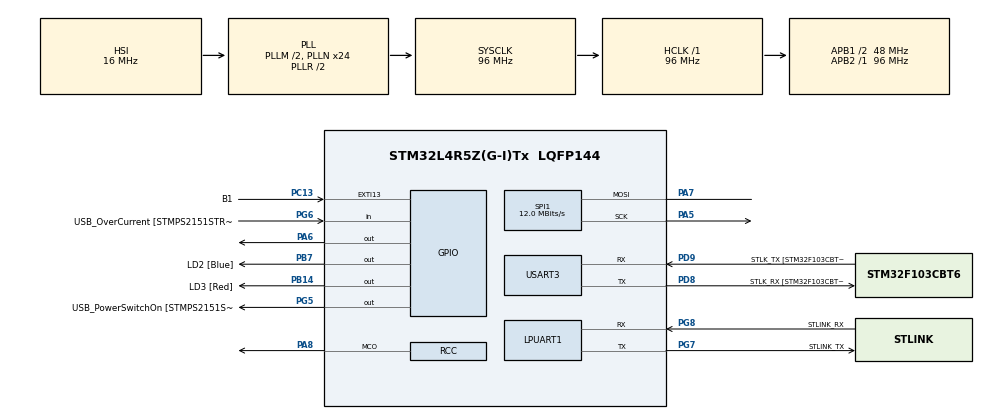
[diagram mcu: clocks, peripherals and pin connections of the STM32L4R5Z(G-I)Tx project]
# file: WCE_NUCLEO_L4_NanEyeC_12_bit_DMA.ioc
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Dma.Request0=SPI1_RX
Dma.Request1=SPI1_TX
Dma.SPI1_RX.0.Direction=DMA_PERIPH_TO_MEMORY
Dma.SPI1_RX.0.EventEnable=DISABLE
Dma.SPI1_RX.0.Instance=DMA1_Channel1
Dma.SPI1_RX.0.MemDataAlignment=DMA_MDATAALIGN_BYTE
Dma.SPI1_RX.0.MemInc=DMA_MINC_ENABLE
Dma.SPI1_RX.0.Mode=DMA_NORMAL
Dma.SPI1_RX.0.PeriphDataAlignment=DMA_PDATAALIGN_BYTE
Dma.SPI1_RX.0.PeriphInc=DMA_PINC_DISABLE
Dma.SPI1_RX.0.Polarity=HAL_DMAMUX_REQUEST_GEN_RISING
Dma.SPI1_RX.0.Priority=DMA_PRIORITY_LOW
Dma.SPI1_RX.0.RequestNumber=1
Dma.SPI1_RX.0.SignalID=NONE
Dma.SPI1_RX.0.SyncEnable=DISABLE
Dma.SPI1_RX.0.SyncPolarity=HAL_DMAMUX_SYNC_NO_EVENT
Dma.SPI1_RX.0.SyncRequestNumber=1
Dma.SPI1_RX.0.SyncSignalID=NONE
Dma.SPI1_TX.1.Direction=DMA_MEMORY_TO_PERIPH
Dma.SPI1_TX.1.EventEnable=DISABLE
Dma.SPI1_TX.1.Instance=DMA1_Channel2
Dma.SPI1_TX.1.MemDataAlignment=DMA_MDATAALIGN_BYTE
Dma.SPI1_TX.1.MemInc=DMA_MINC_ENABLE
Dma.SPI1_TX.1.Mode=DMA_NORMAL
Dma.SPI1_TX.1.PeriphDataAlignment=DMA_PDATAALIGN_BYTE
Dma.SPI1_TX.1.PeriphInc=DMA_PINC_DISABLE
Dma.SPI1_TX.1.Polarity=HAL_DMAMUX_REQUEST_GEN_RISING
Dma.SPI1_TX.1.Priority=DMA_PRIORITY_LOW
Dma.SPI1_TX.1.RequestNumber=1
Dma.SPI1_TX.1.SignalID=NONE
Dma.SPI1_TX.1.SyncEnable=DISABLE
Dma.SPI1_TX.1.SyncPolarity=HAL_DMAMUX_SYNC_NO_EVENT
Dma.SPI1_TX.1.SyncRequestNumber=1
Dma.SPI1_TX.1.SyncSignalID=NONE
Mcu.Family=STM32L4
Mcu.Name=STM32L4R5Z(G-I)Tx
Mcu.Package=LQFP144
NVIC.DMA1_Channel1_IRQn=true\:0\:0\:false\:false\:true\:false\:true
NVIC.DMA1_Channel2_IRQn=true\:0\:0\:false\:false\:true\:false\:true
NVIC.PriorityGroup=NVIC_PRIORITYGROUP_4
NVIC.SPI1_IRQn=true\:0\:0\:false\:false\:true\:true\:true
PA13\ (JTMS/SWDIO).GPIO_Label=TMS
PA13\ (JTMS/SWDIO).Mode=Trace_Asynchronous_SW
PA13\ (JTMS/SWDIO).Signal=SYS_JTMS-SWDIO
PA14\ (JTCK/SWCLK).GPIO_Label=TCK
PA14\ (JTCK/SWCLK).Mode=Trace_Asynchronous_SW
PA14\ (JTCK/SWCLK).Signal=SYS_JTCK-SWCLK
PA5.Mode=Simplex_Bidirectional_Master
PA5.Signal=SPI1_SCK
PA6.Signal=GPIO_Output
PA7.Mode=Simplex_Bidirectional_Master
PA7.Signal=SPI1_MOSI
PA8.Mode=Clock-out
PA8.Signal=RCC_MCO
PB14.GPIO_Label=LD3 [Red]
PB14.Signal=GPIO_Output
PB3\ (JTDO/TRACESWO).GPIO_Label=SWO
PB3\ (JTDO/TRACESWO).Mode=Trace_Asynchronous_SW
PB3\ (JTDO/TRACESWO).Signal=SYS_JTDO-SWO
PB7.GPIO_Label=LD2 [Blue]
PB7.Signal=GPIO_Output
PC13.GPIO_Label=B1
PC13.Signal=GPXTI13
PC14-OSC32_IN\ (PC14).Mode=LSE-External-Oscillator
PC14-OSC32_IN\ (PC14).Signal=RCC_OSC32_IN
PC15-OSC32_OUT\ (PC15).Mode=LSE-External-Oscillator
PC15-OSC32_OUT\ (PC15).Signal=RCC_OSC32_OUT
PD8.GPIO_Label=STLK_RX [STM32F103CBT6_PA3]
PD8.Mode=Asynchronous
PD8.Signal=USART3_TX
PD9.GPIO_Label=STLK_TX [STM32F103CBT6_PA2]
PD9.Mode=Asynchronous
PD9.Signal=USART3_RX
PG5.GPIO_Label=USB_PowerSwitchOn [STMPS2151STR_EN]
PG5.Signal=GPIO_Output
PG6.GPIO_Label=USB_OverCurrent [STMPS2151STR_FAULT]
PG6.Signal=GPIO_Input
PG7.GPIO_Label=STLINK_TX
PG7.Mode=Asynchronous
PG7.Signal=LPUART1_TX
PG8.GPIO_Label=STLINK_RX
PG8.Mode=Asynchronous
PG8.Signal=LPUART1_RX
PH0-OSC_IN\ (PH0).Signal=RCC_OSC_IN
PH1-OSC_OUT\ (PH1).Signal=RCC_OSC_OUT
ProjectManager.HeapSize=0x200
ProjectManager.StackSize=0x400
ProjectManager.TargetToolchain=STM32CubeIDE
RCC.48MHZClocksFreq_Value=24000000
RCC.ADCFreq_Value=96000000
RCC.AHBFreq_Value=96000000
RCC.APB1CLKDivider=RCC_HCLK_DIV2
RCC.APB1Freq_Value=48000000
RCC.APB1TimFreq_Value=96000000
RCC.APB2Freq_Value=96000000
RCC.APB2TimFreq_Value=96000000
RCC.CK48CLockSelection=RCC_USBCLKSOURCE_HSI48
RCC.CortexFreq_Value=96000000
RCC.HCLKFreq_Value=96000000
RCC.HSE_VALUE=8000000
RCC.HSI48_VALUE=48000000
RCC.HSI_VALUE=16000000
RCC.MSI_VALUE=4000000
RCC.PLLM1=2
RCC.PLLMUL=RCC_PLL_MUL9
RCC.PLLN=24
RCC.PLLSAI1N=12
RCC.PLLSourceVirtual=RCC_PLLSOURCE_HSI
RCC.PRESCALERUSB=RCC_USBCLKSOURCE_PLL_DIV1_5
RCC.RCC_MCODiv=RCC_MCODIV_2
RCC.SYSCLKFreq_VALUE=96000000
RCC.SYSCLKSource=RCC_SYSCLKSOURCE_PLLCLK
RCC.SYSCLKSourceVirtual=RCC_SYSCLKSOURCE_PLLCLK
RCC.USBFreq_Value=48000000
RCC.VCOOutputFreq_Value=192000000
SPI1.BaudRatePrescaler=SPI_BAUDRATEPRESCALER_8
SPI1.CalculateBaudRate=12.0 MBits/s
SPI1.DataSize=SPI_DATASIZE_12BIT
SPI1.Direction=SPI_DIRECTION_1LINE
SPI1.Mode=SPI_MODE_MASTER
SPI1.NSSPMode=SPI_NSS_PULSE_ENABLE
SPI1.VirtualType=VM_MASTER
USART3.VirtualMode-Asynchronous=VM_ASYNC
board=NUCLEO-L4R5ZI

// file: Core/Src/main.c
/* USER CODE BEGIN Header */
/**
  ******************************************************************************
  * @file           : main.c
  * @brief          : Main program body
  ******************************************************************************
  * @attention
  *
  * <h2><center>&copy; Copyright (c) 2021 STMicroelectronics.
  * All rights reserved.</center></h2>
  *
  * This software component is licensed by ST under BSD 3-Clause license,
  * the "License"; You may not use this file except in compliance with the
  * License. You may obtain a copy of the License at:
  *                        opensource.org/licenses/BSD-3-Clause
  *
  ******************************************************************************
  */
/* USER CODE END Header */
#include "main.h"

UART_HandleTypeDef hlpuart1;
UART_HandleTypeDef huart3;

SPI_HandleTypeDef hspi1;
DMA_HandleTypeDef hdma_spi1_rx;
DMA_HandleTypeDef hdma_spi1_tx;

void SystemClock_Config(void);
static void MX_GPIO_Init(void);
static void MX_DMA_Init(void);
static void MX_LPUART1_UART_Init(void);
static void MX_USART3_UART_Init(void);
static void MX_SPI1_Init(void);
/* USER CODE BEGIN PFP */
static void Toggle_GPIO_pin_Init(void);
static void Bit_Bang_clock_gen(uint8_t num_clocks);
/* USER CODE END PFP */

int main(void)
{
  /* USER CODE BEGIN 1 */
	uint16_t received_data[52480] = {0};  //320*328 = 104960    104960/2=52480
	uint16_t empty_data[644] = {0};
	uint16_t test_pattern[4];
	test_pattern[0] = 0b100100001100;
	test_pattern[1] = 0b000100101010;
	test_pattern[2] = 0b100100100000;
	test_pattern[3] = 0b010100101000; //12 MHz: 0b010100101000;  16 MHz:0b010110101010
  /* USER CODE END 1 */

  /* MCU Configuration--------------------------------------------------------*/

  /* Reset of all peripherals, Initializes the Flash interface and the Systick. */
  HAL_Init();

  /* Configure the system clock */
  SystemClock_Config();

  /* Initialize all configured peripherals */
  MX_GPIO_Init();
  MX_DMA_Init();
  MX_LPUART1_UART_Init();
  MX_USART3_UART_Init();
  MX_SPI1_Init();
  /* USER CODE BEGIN 2 */
  //HAL_TIM_Base_Start(&htim2);

  //---- ACTIVATION CLOCK PULSE -----
  HAL_SPI_DeInit(&hspi1);
  Toggle_GPIO_pin_Init();
  GPIOA -> ODR ^= GPIO_PIN_5;
  HAL_Delay(1);
  GPIOA -> ODR ^= GPIO_PIN_5;

  //---- REGISTER CONFIGURATION - 48-bit (4PP) -----
  MX_SPI1_Init();
  HAL_SPI_Transmit(&hspi1, test_pattern, 4, 1000);

  //---- WAIT FOR IDLE START-UP ----
  HAL_Delay(1);

  //---- 10 CLOCKS -----
  HAL_SPI_DeInit(&hspi1);
  Toggle_GPIO_pin_Init();
  for (uint8_t i = 0; i < 20; i++)
    {
	  HAL_GPIO_TogglePin(GPIOA, GPIO_PIN_5);
	  HAL_Delay(1);
    }

  MX_DMA_Init();
  MX_SPI1_Init();

  	//---- INITIAL PRE-SYNC MODE: RECEIVE 492 PP FROM CAMERA -----
    HAL_SPI_Receive_DMA(&hspi1, received_data, 329);

    //---- SYNC MODE -----
    HAL_SPI_Receive_DMA(&hspi1, received_data, 656);

    //---- DELAY MODE -----
    HAL_SPI_Receive_DMA(&hspi1, received_data, 656);

	//---- READOUT MODE -----
	HAL_SPI_Receive_DMA(&hspi1, received_data, 52480); //1
	HAL_SPI_Receive_DMA(&hspi1, received_data, 52480); //2

	//---- END OF FRAME -----
	HAL_SPI_Receive_DMA(&hspi1, received_data, 8);

  /* USER CODE END 2 */

  /* Infinite loop */
  /* USER CODE BEGIN WHILE */
  while (1)
  {
	  //---- REGISTER CONFIGURATION - 48-bit (4PP) -----
	  HAL_SPI_Transmit(&hspi1, test_pattern, 4, 1000);

	  //---- INTERFACE MODE -----
	  HAL_SPI_Transmit(&hspi1, empty_data, 644, 1000);

	  //---- SYNC and DELAY MODE -----
	  HAL_SPI_Receive_DMA_DMA(&hspi1, received_data, 1312);

	  //---- READOUT MODE -----
	  HAL_SPI_Receive_DMA(&hspi1, received_data, 52480); //1
	  HAL_SPI_Receive_DMA(&hspi1, received_data, 52480); //2

	  //---- END OF FRAME -----
	  HAL_SPI_Receive_DMA(&hspi1, received_data, 8);

    /* USER CODE END WHILE */

  }
}

void SystemClock_Config(void)
{
  RCC_OscInitTypeDef RCC_OscInitStruct = {0};
  RCC_ClkInitTypeDef RCC_ClkInitStruct = {0};
  RCC_PeriphCLKInitTypeDef PeriphClkInit = {0};

  /** Configure the main internal regulator output voltage
  */
  if (HAL_PWREx_ControlVoltageScaling(PWR_REGULATOR_VOLTAGE_SCALE1_BOOST) != HAL_OK)
  {
    Error_Handler();
  }
  /** Initializes the RCC Oscillators according to the specified parameters
  * in the RCC_OscInitTypeDef structure.
  */
  RCC_OscInitStruct.OscillatorType = RCC_OSCILLATORTYPE_HSI;
  RCC_OscInitStruct.HSIState = RCC_HSI_ON;
  RCC_OscInitStruct.HSICalibrationValue = RCC_HSICALIBRATION_DEFAULT;
  RCC_OscInitStruct.PLL.PLLState = RCC_PLL_ON;
  RCC_OscInitStruct.PLL.PLLSource = RCC_PLLSOURCE_HSI;
  RCC_OscInitStruct.PLL.PLLM = 2;
  RCC_OscInitStruct.PLL.PLLN = 24;
  RCC_OscInitStruct.PLL.PLLP = RCC_PLLP_DIV2;
  RCC_OscInitStruct.PLL.PLLQ = RCC_PLLQ_DIV2;
  RCC_OscInitStruct.PLL.PLLR = RCC_PLLR_DIV2;
  if (HAL_RCC_OscConfig(&RCC_OscInitStruct) != HAL_OK)
  {
    Error_Handler();
  }
  /** Initializes the CPU, AHB and APB buses clocks
  */
  RCC_ClkInitStruct.ClockType = RCC_CLOCKTYPE_HCLK|RCC_CLOCKTYPE_SYSCLK
                              |RCC_CLOCKTYPE_PCLK1|RCC_CLOCKTYPE_PCLK2;
  RCC_ClkInitStruct.SYSCLKSource = RCC_SYSCLKSOURCE_PLLCLK;
  RCC_ClkInitStruct.AHBCLKDivider = RCC_SYSCLK_DIV1;
  RCC_ClkInitStruct.APB1CLKDivider = RCC_HCLK_DIV2;
  RCC_ClkInitStruct.APB2CLKDivider = RCC_HCLK_DIV1;

  if (HAL_RCC_ClockConfig(&RCC_ClkInitStruct, FLASH_LATENCY_4) != HAL_OK)
  {
    Error_Handler();
  }
  PeriphClkInit.PeriphClockSelection = RCC_PERIPHCLK_USART3|RCC_PERIPHCLK_LPUART1;
  PeriphClkInit.Usart3ClockSelection = RCC_USART3CLKSOURCE_PCLK1;
  PeriphClkInit.Lpuart1ClockSelection = RCC_LPUART1CLKSOURCE_PCLK1;
  if (HAL_RCCEx_PeriphCLKConfig(&PeriphClkInit) != HAL_OK)
  {
    Error_Handler();
  }
  HAL_RCC_MCOConfig(RCC_MCO1, RCC_MCO1SOURCE_SYSCLK, RCC_MCODIV_2);
}

static void MX_LPUART1_UART_Init(void)
{

  hlpuart1.Instance = LPUART1;
  hlpuart1.Init.BaudRate = 209700;
  hlpuart1.Init.WordLength = UART_WORDLENGTH_7B;
  hlpuart1.Init.StopBits = UART_STOPBITS_1;
  hlpuart1.Init.Parity = UART_PARITY_NONE;
  hlpuart1.Init.Mode = UART_MODE_TX_RX;
  hlpuart1.Init.HwFlowCtl = UART_HWCONTROL_NONE;
  hlpuart1.Init.OneBitSampling = UART_ONE_BIT_SAMPLE_DISABLE;
  hlpuart1.Init.ClockPrescaler = UART_PRESCALER_DIV1;
  hlpuart1.AdvancedInit.AdvFeatureInit = UART_ADVFEATURE_NO_INIT;
  hlpuart1.FifoMode = UART_FIFOMODE_DISABLE;
  if (HAL_UART_Init(&hlpuart1) != HAL_OK)
  {
    Error_Handler();
  }
  if (HAL_UARTEx_SetTxFifoThreshold(&hlpuart1, UART_TXFIFO_THRESHOLD_1_8) != HAL_OK)
  {
    Error_Handler();
  }
  if (HAL_UARTEx_SetRxFifoThreshold(&hlpuart1, UART_RXFIFO_THRESHOLD_1_8) != HAL_OK)
  {
    Error_Handler();
  }
  if (HAL_UARTEx_DisableFifoMode(&hlpuart1) != HAL_OK)
  {
    Error_Handler();
  }

}

static void MX_USART3_UART_Init(void)
{

  huart3.Instance = USART3;
  huart3.Init.BaudRate = 115200;
  huart3.Init.WordLength = UART_WORDLENGTH_8B;
  huart3.Init.StopBits = UART_STOPBITS_1;
  huart3.Init.Parity = UART_PARITY_NONE;
  huart3.Init.Mode = UART_MODE_TX_RX;
  huart3.Init.HwFlowCtl = UART_HWCONTROL_NONE;
  huart3.Init.OverSampling = UART_OVERSAMPLING_16;
  huart3.Init.OneBitSampling = UART_ONE_BIT_SAMPLE_DISABLE;
  huart3.Init.ClockPrescaler = UART_PRESCALER_DIV1;
  huart3.AdvancedInit.AdvFeatureInit = UART_ADVFEATURE_NO_INIT;
  if (HAL_UART_Init(&huart3) != HAL_OK)
  {
    Error_Handler();
  }
  if (HAL_UARTEx_SetTxFifoThreshold(&huart3, UART_TXFIFO_THRESHOLD_1_8) != HAL_OK)
  {
    Error_Handler();
  }
  if (HAL_UARTEx_SetRxFifoThreshold(&huart3, UART_RXFIFO_THRESHOLD_1_8) != HAL_OK)
  {
    Error_Handler();
  }
  if (HAL_UARTEx_DisableFifoMode(&huart3) != HAL_OK)
  {
    Error_Handler();
  }

}

static void MX_SPI1_Init(void)
{

  /* SPI1 parameter configuration*/
  hspi1.Instance = SPI1;
  hspi1.Init.Mode = SPI_MODE_MASTER;
  hspi1.Init.Direction = SPI_DIRECTION_1LINE;
  hspi1.Init.DataSize = SPI_DATASIZE_12BIT;
  hspi1.Init.CLKPolarity = SPI_POLARITY_LOW;
  hspi1.Init.CLKPhase = SPI_PHASE_1EDGE;
  hspi1.Init.NSS = SPI_NSS_SOFT;
  hspi1.Init.BaudRatePrescaler = SPI_BAUDRATEPRESCALER_8;
  hspi1.Init.FirstBit = SPI_FIRSTBIT_MSB;
  hspi1.Init.TIMode = SPI_TIMODE_DISABLE;
  hspi1.Init.CRCCalculation = SPI_CRCCALCULATION_DISABLE;
  hspi1.Init.CRCPolynomial = 7;
  hspi1.Init.CRCLength = SPI_CRC_LENGTH_DATASIZE;
  hspi1.Init.NSSPMode = SPI_NSS_PULSE_ENABLE;
  if (HAL_SPI_Init(&hspi1) != HAL_OK)
  {
    Error_Handler();
  }

}

static void MX_DMA_Init(void)
{

  /* DMA controller clock enable */
  __HAL_RCC_DMAMUX1_CLK_ENABLE();
  __HAL_RCC_DMA1_CLK_ENABLE();

  /* DMA interrupt init */
  /* DMA1_Channel1_IRQn interrupt configuration */
  HAL_NVIC_SetPriority(DMA1_Channel1_IRQn, 0, 0);
  HAL_NVIC_EnableIRQ(DMA1_Channel1_IRQn);
  /* DMA1_Channel2_IRQn interrupt configuration */
  HAL_NVIC_SetPriority(DMA1_Channel2_IRQn, 0, 0);
  HAL_NVIC_EnableIRQ(DMA1_Channel2_IRQn);

}

static void MX_GPIO_Init(void)
{
  GPIO_InitTypeDef GPIO_InitStruct = {0};

  /* GPIO Ports Clock Enable */
  __HAL_RCC_GPIOC_CLK_ENABLE();
  __HAL_RCC_GPIOH_CLK_ENABLE();
  __HAL_RCC_GPIOA_CLK_ENABLE();
  __HAL_RCC_GPIOB_CLK_ENABLE();
  __HAL_RCC_GPIOD_CLK_ENABLE();
  __HAL_RCC_GPIOG_CLK_ENABLE();
  HAL_PWREx_EnableVddIO2();

  /*Configure GPIO pin Output Level */
  HAL_GPIO_WritePin(GPIOA, GPIO_PIN_6, GPIO_PIN_RESET);

  /*Configure GPIO pin Output Level */
  HAL_GPIO_WritePin(GPIOB, LD3_Pin|LD2_Pin, GPIO_PIN_RESET);

  /*Configure GPIO pin Output Level */
  HAL_GPIO_WritePin(USB_PowerSwitchOn_GPIO_Port, USB_PowerSwitchOn_Pin, GPIO_PIN_RESET);

  /*Configure GPIO pin : B1_Pin */
  GPIO_InitStruct.Pin = B1_Pin;
  GPIO_InitStruct.Mode = GPIO_MODE_IT_RISING;
  GPIO_InitStruct.Pull = GPIO_NOPULL;
  HAL_GPIO_Init(B1_GPIO_Port, &GPIO_InitStruct);

  /*Configure GPIO pin : PA6 */
  GPIO_InitStruct.Pin = GPIO_PIN_6;
  GPIO_InitStruct.Mode = GPIO_MODE_OUTPUT_PP;
  GPIO_InitStruct.Pull = GPIO_NOPULL;
  GPIO_InitStruct.Speed = GPIO_SPEED_FREQ_LOW;
  HAL_GPIO_Init(GPIOA, &GPIO_InitStruct);

  /*Configure GPIO pins : LD3_Pin LD2_Pin */
  GPIO_InitStruct.Pin = LD3_Pin|LD2_Pin;
  GPIO_InitStruct.Mode = GPIO_MODE_OUTPUT_PP;
  GPIO_InitStruct.Pull = GPIO_NOPULL;
  GPIO_InitStruct.Speed = GPIO_SPEED_FREQ_LOW;
  HAL_GPIO_Init(GPIOB, &GPIO_InitStruct);

  /*Configure GPIO pin : USB_PowerSwitchOn_Pin */
  GPIO_InitStruct.Pin = USB_PowerSwitchOn_Pin;
  GPIO_InitStruct.Mode = GPIO_MODE_OUTPUT_PP;
  GPIO_InitStruct.Pull = GPIO_NOPULL;
  GPIO_InitStruct.Speed = GPIO_SPEED_FREQ_LOW;
  HAL_GPIO_Init(USB_PowerSwitchOn_GPIO_Port, &GPIO_InitStruct);

  /*Configure GPIO pin : USB_OverCurrent_Pin */
  GPIO_InitStruct.Pin = USB_OverCurrent_Pin;
  GPIO_InitStruct.Mode = GPIO_MODE_INPUT;
  GPIO_InitStruct.Pull = GPIO_NOPULL;
  HAL_GPIO_Init(USB_OverCurrent_GPIO_Port, &GPIO_InitStruct);

  /*Configure GPIO pin : PA8 */
  GPIO_InitStruct.Pin = GPIO_PIN_8;
  GPIO_InitStruct.Mode = GPIO_MODE_AF_PP;
  GPIO_InitStruct.Pull = GPIO_NOPULL;
  GPIO_InitStruct.Speed = GPIO_SPEED_FREQ_LOW;
  GPIO_InitStruct.Alternate = GPIO_AF0_MCO;
  HAL_GPIO_Init(GPIOA, &GPIO_InitStruct);

}

/* USER CODE BEGIN 4 */
static void Toggle_GPIO_pin_Init(void)
{
  GPIO_InitTypeDef GPIO_InitStruct = {0};

  /*Configure GPIO pin Output Level */
  HAL_GPIO_WritePin(GPIOA, GPIO_PIN_5, GPIO_PIN_RESET);

  /*Configure GPIO pin : PA6 */
  GPIO_InitStruct.Pin = GPIO_PIN_5;
  GPIO_InitStruct.Mode = GPIO_MODE_OUTPUT_PP;
  GPIO_InitStruct.Pull = GPIO_NOPULL;
  GPIO_InitStruct.Speed = GPIO_SPEED_FREQ_LOW;
  HAL_GPIO_Init(GPIOA, &GPIO_InitStruct);
}

static void Bit_Bang_clock_gen(uint8_t num_clocks)
{
	HAL_SPI_DeInit(&hspi1);
	Toggle_GPIO_pin_Init();
		for (uint8_t i = 0; i < (num_clocks*2); i++)
		 {
		  HAL_GPIO_TogglePin(GPIOA, GPIO_PIN_5);
		  HAL_Delay(1);
		 }
}

/* USER CODE END 4 */

void Error_Handler(void)
{
  __disable_irq();
  while (1)
  {
  }
}

/************************ (C) COPYRIGHT STMicroelectronics *****END OF FILE****/
